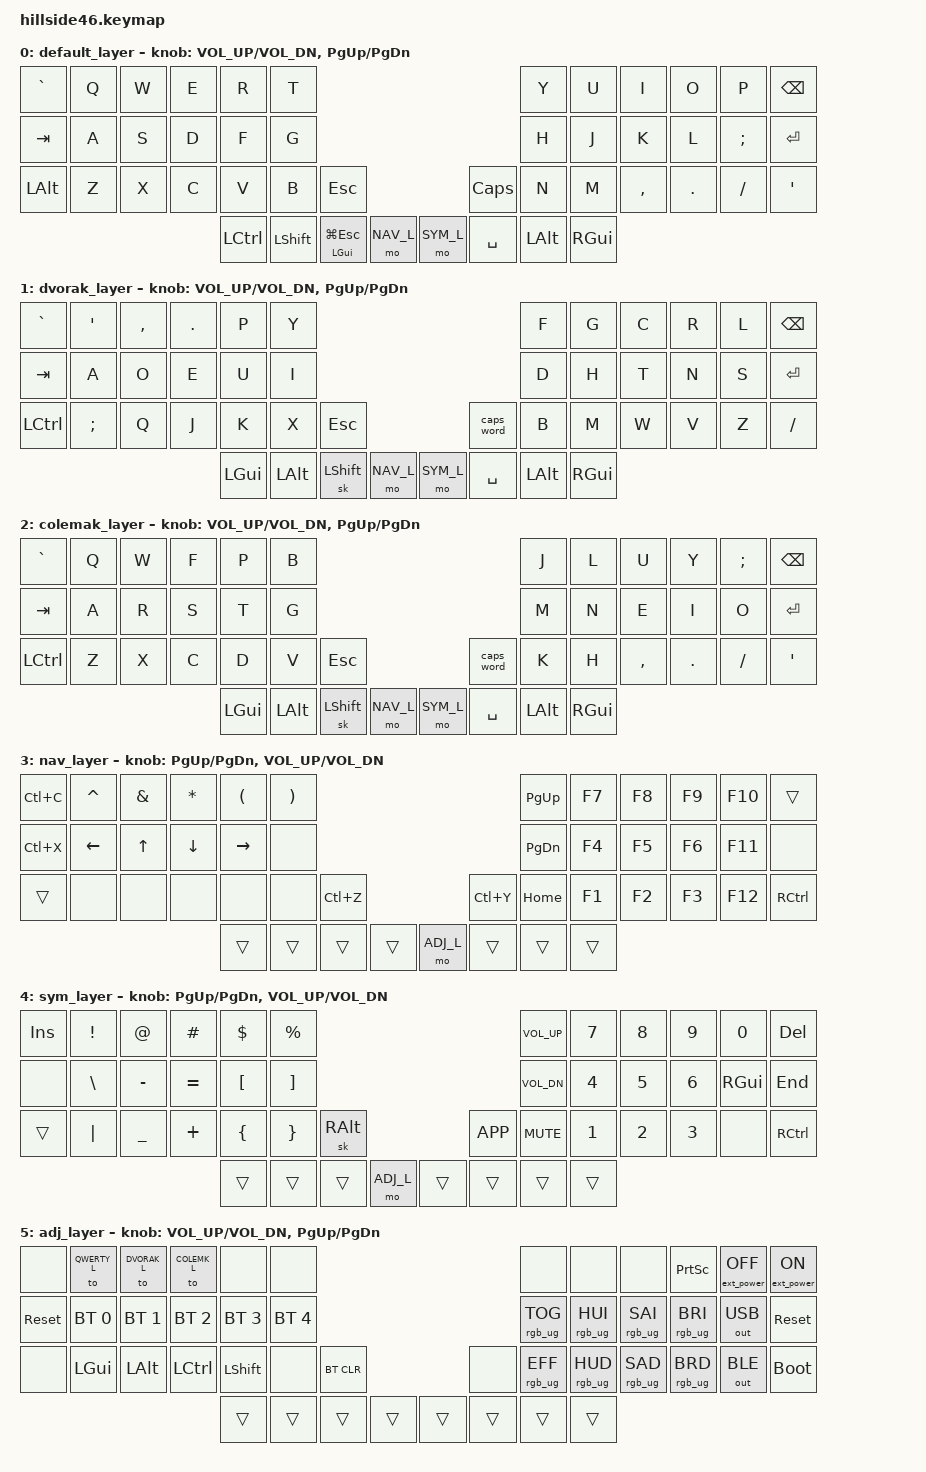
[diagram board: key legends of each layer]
/*
 * Copyright (c) 2021-2022 The ZMK Contributors
 *
 * SPDX-License-Identifier: MIT
 */

#include <behaviors.dtsi>
#include <dt-bindings/zmk/bt.h>
#include <dt-bindings/zmk/ext_power.h>
#include <dt-bindings/zmk/keys.h>
#include <dt-bindings/zmk/outputs.h>
#include <dt-bindings/zmk/rgb.h>

#define QWERTY_L 0
#define DVORAK_L 1
#define COLEMK_L 2
#define NAV_L    3
#define SYM_L    4
#define ADJ_L    5
#define Undo   LC(Z)
#define Cut    LC(X)
#define Copy   LC(C)
#define Paste  LC(V)
#define Redo   LC(Y)

/ {
    keymap {
        compatible = "zmk,keymap";

        default_layer {
            /* QWERTY
 * -------------------------------------------------------------------------------------------------------------------------------------
 * | `     |   Q   |   W   |   E   |   R   |   T   |-----------------------------------|   Y   |   U   |   I   |   O   |   P   | BKSPC |
 * | TAB   |   A   |   S   |   D   |   F   |   G   |-----------------------------------|   H   |   J   |   K   |   L   |   ;   | ENTER |
 * | ALT   |   Z   |   X   |   C   |   V   |   B   |  ESC  |-------------------|  CAPS |   N   |   M   |   ,   |   .   |   /   |   '   |
 *                                 | CTRL  |SK SHFT|  GUI  |  Nav  |---|  Sym  | SPACE |  ALT  |  GUI  |
 */

            bindings = <
&kp GRAVE  &kp Q  &kp W  &kp E  &kp R      &kp T                                                               &kp Y     &kp U     &kp I      &kp O    &kp P      &kp BSPC
&kp TAB    &kp A  &kp S  &kp D  &kp F      &kp G                                                               &kp H     &kp J     &kp K      &kp L    &kp SEMI   &kp ENTER
&kp LALT   &kp Z  &kp X  &kp C  &kp V      &kp B       &kp ESC                                   &kp CAPSLOCK  &kp N     &kp M     &kp COMMA  &kp DOT  &kp SLASH  &kp SQT
                                &kp LCTRL  &kp LSHIFT  &mt LGUI LG(ESC)  &mo NAV_L    &mo SYM_L  &kp SPACE     &kp LALT  &kp RGUI
            >;

            sensor-bindings = <&inc_dec_kp C_VOL_UP C_VOL_DN &inc_dec_kp PG_UP PG_DN>;
        };

        dvorak_layer {
            /* DVORAK
 * -------------------------------------------------------------------------------------------------------------------------------------
 * | `     |   '   |   ,   |   .   |   P   |   Y   |-----------------------------------|   F   |   G   |   C   |   R   |   L   | BKSPC |
 * | TAB   |   A   |   O   |   E   |   U   |   I   |-----------------------------------|   D   |   H   |   T   |   N   |   S   | ENTER |
 * | CTRL  |   ;   |   Q   |   J   |   K   |   X   |  ESC  |-------------------| CAPS  |   B   |   M   |   W   |   V   |   Z   |   /   |
 *                                 |  GUI  |  ALT  |SK SHFT|  Nav  |---|  Sym  | SPACE |  ALT  |  GUI  |
 */

            bindings = <
&kp GRAVE  &kp SQT   &kp COMMA  &kp DOT  &kp P     &kp Y                                                     &kp F     &kp G     &kp C  &kp R  &kp L  &kp BSPC
&kp TAB    &kp A     &kp O      &kp E    &kp U     &kp I                                                     &kp D     &kp H     &kp T  &kp N  &kp S  &kp ENTER
&kp LCTRL  &kp SEMI  &kp Q      &kp J    &kp K     &kp X     &kp ESC                             &caps_word  &kp B     &kp M     &kp W  &kp V  &kp Z  &kp SLASH
                                         &kp LGUI  &kp LALT  &sk LSHIFT  &mo NAV_L    &mo SYM_L  &kp SPACE   &kp LALT  &kp RGUI
            >;

            sensor-bindings = <&inc_dec_kp C_VOL_UP C_VOL_DN &inc_dec_kp PG_UP PG_DN>;
        };

        colemak_layer {
            /* COLEMAK-DH
 * -------------------------------------------------------------------------------------------------------------------------------------
 * | `     |   Q   |   W   |   F   |   P   |   B   |-----------------------------------|   J   |   L   |   U   |   Y   |   ;   | BKSPC |
 * | TAB   |   A   |   R   |   S   |   T   |   G   |-----------------------------------|   M   |   N   |   E   |   I   |   O   | ENTER |
 * | CTRL  |   Z   |   X   |   C   |   D   |   V   |  ESC  |-------------------| CAPS  |   K   |   H   |   ,   |   .   |   /   |   '   |
 *                                 |  GUI  |  ALT  |SK SHFT|  Nav  |---|  Sym  | SPACE |  ALT  |  GUI  |
 */

            bindings = <
&kp GRAVE  &kp Q  &kp W  &kp F  &kp P     &kp B                                                     &kp J     &kp L     &kp U      &kp Y    &kp SEMI   &kp BSPC
&kp TAB    &kp A  &kp R  &kp S  &kp T     &kp G                                                     &kp M     &kp N     &kp E      &kp I    &kp O      &kp ENTER
&kp LCTRL  &kp Z  &kp X  &kp C  &kp D     &kp V     &kp ESC                             &caps_word  &kp K     &kp H     &kp COMMA  &kp DOT  &kp SLASH  &kp SQT
                                &kp LGUI  &kp LALT  &sk LSHIFT  &mo NAV_L    &mo SYM_L  &kp SPACE   &kp LALT  &kp RGUI
            >;

            sensor-bindings = <&inc_dec_kp C_VOL_UP C_VOL_DN &inc_dec_kp PG_UP PG_DN>;
        };

        nav_layer {
            /* NAV
 * -------------------------------------------------------------------------------------------------------------------------------------
 * | Copy  |   1   |   2   |   3   |   4   |   5   |-----------------------------------|   6   |   7   |   8   |   9   |   0   | BSPC  |
 * | Cut   |  GUI  |  Alt  | Ctrl  | Shift | Paste |-----------------------------------| PG UP |  Left |  Up   |  Down | Right | PG DN |
 * | Ctrl  |  F1   |  F2   |  F3   |  F4   |  F5   |  UnDo |-------------------| ReDo  |  F6   |  F7   |  F8   |  F9   |  F10  | Ctrl  |
 *                                 |       |       |       |       |---| ADJ_L |       |       |       |
 */

            bindings = <
&kp Copy  &kp CARET  &kp AMPS  &kp ASTRK  &kp LPAR   &kp RPAR                                           &kp PG_UP  &kp F7  &kp F8  &kp F9  &kp F10  &trans
&kp Cut   &kp LEFT   &kp UP    &kp DOWN   &kp RIGHT  &none                                              &kp PG_DN  &kp F4  &kp F5  &kp F6  &kp F11  &none
&trans    &none      &none     &none      &none      &none     &kp Undo                       &kp Redo  &kp HOME   &kp F1  &kp F2  &kp F3  &kp F12  &kp RCTRL
                                          &trans     &trans    &trans    &trans    &mo ADJ_L  &trans    &trans     &trans
            >;

            sensor-bindings = <&inc_dec_kp PG_UP PG_DN &inc_dec_kp C_VOL_UP C_VOL_DN>;
        };

        sym_layer {
            /* SYM
 * -------------------------------------------------------------------------------------------------------------------------------------
 * | INS   |   !   |   @   |   #   |   $   |   %   |-----------------------------------|   ^   |   &   |   *   |   (   |   )   | BSPC  |
 * |       |   \   |   -   |   =   |   [   |   ]   |-----------------------------------| HOME  | Shift | Ctrl  | Alt   | Gui   | END   |
 * | Ctrl  |   |   |   _   |   +   |   {   |   }   |SkAltGr|-------------------| MENU  | Mute  | Vol-  | Vol+  | Play  |       | Ctrl  |
 *                                 |       |       |       |  ADJ_L |---|      |       |       |       |
 */

            bindings = <
&kp INS  &kp EXCL  &kp AT     &kp HASH   &kp DOLLAR  &kp PERCENT                                            &kp C_VOL_UP  &kp N7  &kp N8  &kp N9  &kp N0    &kp DEL
&none    &kp BSLH  &kp MINUS  &kp EQUAL  &kp LBKT    &kp RBKT                                               &kp C_VOL_DN  &kp N4  &kp N5  &kp N6  &kp RGUI  &kp END
&trans   &kp PIPE  &kp UNDER  &kp PLUS   &kp LBRC    &kp RBRC     &sk RALT                       &kp K_APP  &kp C_MUTE    &kp N1  &kp N2  &kp N3  &none     &kp RCTRL
                                         &trans      &trans       &trans    &mo ADJ_L    &trans  &trans     &trans        &trans
            >;

            sensor-bindings = <&inc_dec_kp PG_UP PG_DN &inc_dec_kp C_VOL_UP C_VOL_DN>;
        };

        adj_layer {
            /* ADJUST
 * -------------------------------------------------------------------------------------------------------------------------------------
 * |       | QWERTY| DVORAK| COLEMK|       |       |-----------------------------------|       |       |       |Prt Scr|EP_OFF | EP_ON |
 * | RESET | BT 0  | BT 1  | BT 2  | BT 3  | BT 4  |-----------------------------------|RGB_TOG|RGB_HUI|RGB_SAI|RGB_BRI|OUT_USB| RESET |
 * |       | LGUI  | LALT  | LCTRL | LSHIFT|       |BT CLR |-------------------|       |RGB_EFF|RGB_HUD|RGB_SAD|RGB_BRD|OUT_BLE| BOOTL |
 *                                 |       |       |       |       |---|       |       |       |       |
 */

            bindings = <
&none       &to QWERTY_L  &to DVORAK_L  &to COLEMK_L  &none         &none                                               &none            &none            &none            &kp PRINTSCREEN  &ext_power EP_OFF  &ext_power EP_ON
&sys_reset  &bt BT_SEL 0  &bt BT_SEL 1  &bt BT_SEL 2  &bt BT_SEL 3  &bt BT_SEL 4                                        &rgb_ug RGB_TOG  &rgb_ug RGB_HUI  &rgb_ug RGB_SAI  &rgb_ug RGB_BRI  &out OUT_USB       &sys_reset
&none       &kp LGUI      &kp LALT      &kp LCTRL     &kp LSHIFT    &none         &bt BT_CLR                    &none   &rgb_ug RGB_EFF  &rgb_ug RGB_HUD  &rgb_ug RGB_SAD  &rgb_ug RGB_BRD  &out OUT_BLE       &bootloader
                                                      &trans        &trans        &trans      &trans    &trans  &trans  &trans           &trans
            >;

            sensor-bindings = <&inc_dec_kp C_VOL_UP C_VOL_DN &inc_dec_kp PG_UP PG_DN>;
        };
    };
};
